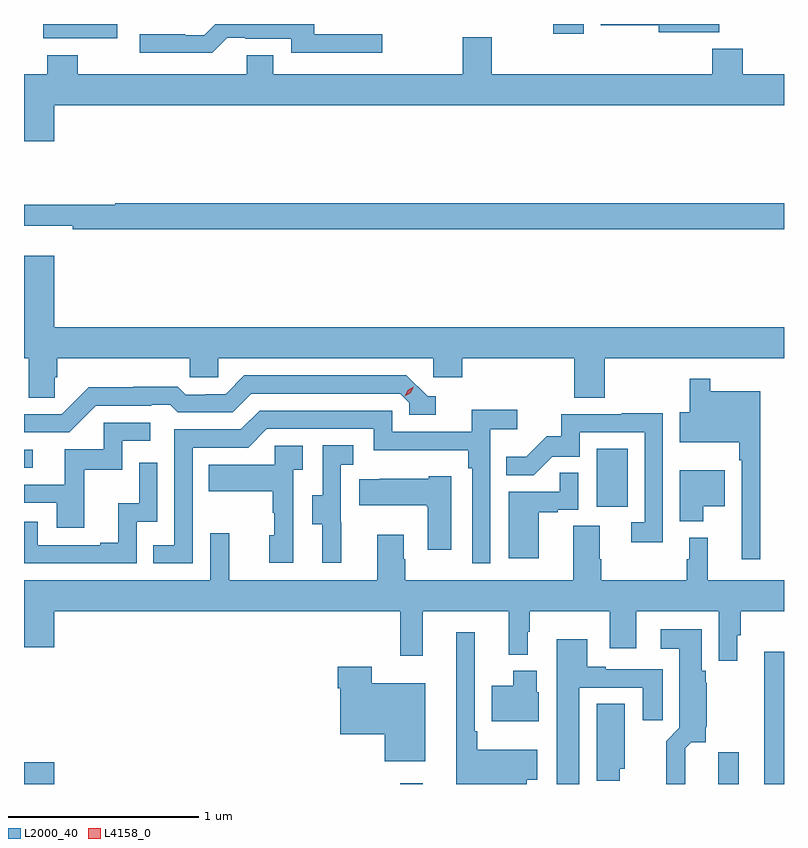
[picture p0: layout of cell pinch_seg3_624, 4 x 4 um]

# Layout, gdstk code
import gdstk
lib = gdstk.Library(unit=1e-6, precision=1e-09)
def R(c, l, rs):  # rectangles x0, y0, x1, y1
    for r in rs: c.add(gdstk.rectangle(r[:2], r[2:], *l))
def P(c, l, *ps):  # polygons
    for p in ps: c.add(gdstk.Polygon(p, *l))
L2000_40 = (2000, 40)
L4158_0 = (4158, 0)

pinch_seg3_624 = lib.new_cell('pinch_seg3_624')
R(pinch_seg3_624, L2000_40, [(1028.148,674.7,1028.308,674.815), (1030.129,674.7,1030.246,674.704), (1031.801,674.7,1031.911,674.866), (1032.044,674.7,1032.148,675.397), (1031.162,676.158,1031.326,676.465), (1028.148,676.365,1028.194,676.458), (1028.25,678.626,1028.638,678.7), (1030.934,678.648,1031.095,678.7)])
P(pinch_seg3_624, L2000_40, [(1029.219,678.627),(1029.313,678.627),(1029.313,678.623),(1029.554,678.623),(1029.554,678.549),(1030.033,678.549),(1030.033,678.645),(1029.676,678.645),(1029.676,678.7),(1029.154,678.7),(1029.096,678.642),(1028.996,678.642),(1028.996,678.645),(1028.757,678.645),(1028.757,678.548),(1029.14,678.548)],
  [(1031.807,678.7),(1031.184,678.7),(1031.184,678.694),(1031.489,678.694),(1031.489,678.656),(1031.807,678.656)],
  [(1028.308,678.272),(1032.148,678.272),(1032.148,678.436),(1031.93,678.436),(1031.93,678.571),(1031.771,678.571),(1031.771,678.436),(1030.611,678.436),(1030.611,678.631),(1030.456,678.631),(1030.456,678.436),(1029.46,678.436),(1029.46,678.535),(1029.32,678.535),(1029.32,678.436),(1028.43,678.436),(1028.43,678.535),(1028.27,678.535),(1028.27,678.436),(1028.148,678.436),(1028.148,678.084),(1028.308,678.084)],
  [(1032.148,677.756),(1028.627,677.756),(1028.627,677.749),(1028.148,677.749),(1028.148,677.639),(1028.404,677.639),(1028.404,677.62),(1032.148,677.62)],
  [(1028.309,676.842),(1028.324,676.842),(1028.324,676.94),(1029.021,676.94),(1029.021,676.842),(1029.171,676.842),(1029.171,676.94),(1030.302,676.94),(1030.302,676.842),(1030.454,676.842),(1030.454,676.94),(1031.045,676.94),(1031.045,676.732),(1031.205,676.732),(1031.205,676.94),(1032.148,676.94),(1032.148,677.104),(1028.308,677.104),(1028.308,677.479),(1028.148,677.479),(1028.148,676.94),(1028.172,676.94),(1028.172,676.732),(1028.309,676.732)],
  [(1028.526,676.692),(1028.819,676.692),(1028.819,676.695),(1028.918,676.695),(1028.957,676.656),(1029.246,676.656),(1029.345,676.755),(1030.128,676.755),(1030.176,676.707),(1030.176,676.644),(1030.315,676.644),(1030.315,676.74),(1030.272,676.74),(1030.161,676.851),(1029.308,676.851),(1029.209,676.752),(1029.102,676.752),(1029.102,676.749),(1028.999,676.749),(1028.957,676.792),(1028.724,676.792),(1028.724,676.789),(1028.488,676.789),(1028.346,676.647),(1028.148,676.647),(1028.148,676.551),(1028.385,676.551)],
  [(1032.022,676.768),(1031.761,676.768),(1031.761,676.834),(1031.651,676.834),(1031.651,676.657),(1031.598,676.657),(1031.598,676.499),(1031.913,676.499),(1031.913,676.403),(1031.925,676.403),(1031.925,675.882),(1032.022,675.882)],
  [(1029.036,676.47),(1029.327,676.47),(1029.426,676.569),(1029.99,676.569),(1029.99,676.457),(1030.486,676.457),(1030.486,676.361),(1030.506,676.361),(1030.506,675.861),(1030.602,675.861),(1030.602,676.568),(1030.744,676.568),(1030.744,676.67),(1030.505,676.67),(1030.505,676.554),(1030.086,676.554),(1030.086,676.665),(1029.389,676.665),(1029.29,676.566),(1028.94,676.566),(1028.94,675.957),(1028.827,675.957),(1028.827,675.861),(1029.036,675.861)],
  [(1031.511,676.652),(1031.293,676.652),(1031.293,676.647),(1030.975,676.647),(1030.975,676.53),(1030.898,676.53),(1030.791,676.423),(1030.687,676.423),(1030.687,676.324),(1030.831,676.324),(1030.929,676.422),(1031.073,676.422),(1031.073,676.551),(1031.415,676.551),(1031.415,676.077),(1031.343,676.077),(1031.343,675.972),(1031.511,675.972)],
  [(1028.465,676.353),(1028.664,676.353),(1028.664,676.506),(1028.812,676.506),(1028.812,676.602),(1028.568,676.602),(1028.568,676.461),(1028.363,676.461),(1028.363,676.275),(1028.148,676.275),(1028.148,676.179),(1028.321,676.179),(1028.321,676.05),(1028.465,676.05)],
  [(1029.818,676.077),(1029.816,676.077),(1029.816,676.381),(1029.88,676.381),(1029.88,676.484),(1029.72,676.484),(1029.72,676.221),(1029.665,676.221),(1029.665,676.066),(1029.719,676.066),(1029.719,675.864),(1029.818,675.864)],
  [(1029.564,676.355),(1029.616,676.355),(1029.616,676.479),(1029.468,676.479),(1029.468,676.381),(1029.121,676.381),(1029.121,676.241),(1029.456,676.241),(1029.456,676.127),(1029.466,676.127),(1029.466,676.008),(1029.44,676.008),(1029.44,675.864),(1029.564,675.864)],
  [(1028.742,676.08),(1028.85,676.08),(1028.85,676.39),(1028.754,676.39),(1028.754,676.178),(1028.645,676.178),(1028.645,675.97),(1028.549,675.97),(1028.549,675.957),(1028.22,675.957),(1028.22,676.08),(1028.148,676.08),(1028.148,675.861),(1028.742,675.861)],
  [(1031.722,676.163),(1031.836,676.163),(1031.836,676.351),(1031.6,676.351),(1031.6,676.082),(1031.722,676.082)],
  [(1030.858,676.131),(1030.958,676.131),(1030.958,676.143),(1031.064,676.143),(1031.064,676.337),(1030.969,676.337),(1030.969,676.239),(1030.7,676.239),(1030.7,675.888),(1030.858,675.888)],
  [(1030.396,676.321),(1030.278,676.321),(1030.278,676.306),(1030.021,676.306),(1030.021,676.303),(1029.913,676.303),(1029.913,676.166),(1030.267,676.166),(1030.267,676.159),(1030.274,676.159),(1030.274,675.933),(1030.396,675.933)],
  [(1031.902,675.484),(1031.921,675.484),(1031.921,675.608),(1032.148,675.608),(1032.148,675.772),(1031.747,675.772),(1031.747,675.997),(1031.648,675.997),(1031.648,675.884),(1031.637,675.884),(1031.637,675.772),(1031.187,675.772),(1031.187,675.884),(1031.179,675.884),(1031.179,676.058),(1031.039,676.058),(1031.039,675.772),(1030.155,675.772),(1030.155,675.884),(1030.147,675.884),(1030.147,676.012),(1030.007,676.012),(1030.007,675.772),(1029.227,675.772),(1029.227,676.021),(1029.129,676.021),(1029.129,675.772),(1028.148,675.772),(1028.148,675.42),(1028.308,675.42),(1028.308,675.608),(1030.129,675.608),(1030.129,675.375),(1030.247,675.375),(1030.247,675.608),(1030.7,675.608),(1030.7,675.38),(1030.798,675.38),(1030.798,675.501),(1030.81,675.501),(1030.81,675.608),(1031.231,675.608),(1031.231,675.414),(1031.371,675.414),(1031.371,675.608),(1031.805,675.608),(1031.805,675.348),(1031.902,675.348)],
  [(1031.629,674.888),(1031.661,674.921),(1031.736,674.921),(1031.736,674.997),(1031.742,675.003),(1031.742,675.234),(1031.736,675.234),(1031.736,675.297),(1031.716,675.297),(1031.716,675.514),(1031.499,675.514),(1031.499,675.413),(1031.597,675.413),(1031.597,674.996),(1031.527,674.926),(1031.527,674.7),(1031.629,674.7)],
  [(1030.795,674.723),(1030.849,674.723),(1030.849,674.881),(1030.534,674.881),(1030.534,674.977),(1030.521,674.977),(1030.521,675.499),(1030.424,675.499),(1030.424,674.7),(1030.795,674.7)],
  [(1031.071,675.207),(1031.405,675.207),(1031.405,675.036),(1031.509,675.036),(1031.509,675.303),(1031.209,675.303),(1031.209,675.316),(1031.113,675.316),(1031.113,675.463),(1030.952,675.463),(1030.952,674.7),(1031.071,674.7)],
  [(1030.261,675.229),(1029.978,675.229),(1029.978,675.316),(1029.8,675.316),(1029.8,675.203),(1029.812,675.203),(1029.812,674.963),(1030.046,674.963),(1030.046,674.819),(1030.261,674.819)],
  [(1030.858,675.183),(1030.846,675.183),(1030.846,675.295),(1030.724,675.295),(1030.724,675.217),(1030.61,675.217),(1030.61,675.029),(1030.858,675.029)],
  [(1031.284,674.781),(1031.311,674.781),(1031.311,675.122),(1031.162,675.122),(1031.162,674.717),(1031.284,674.717)])
P(pinch_seg3_624, L4158_0, [(1030.152,676.74),(1030.152,676.741),(1030.169,676.773),(1030.2,676.792),(1030.2,676.792),(1030.2,676.792),(1030.184,676.759),(1030.153,676.74)])

lib.write_gds('pinch_seg3_624.gds')
